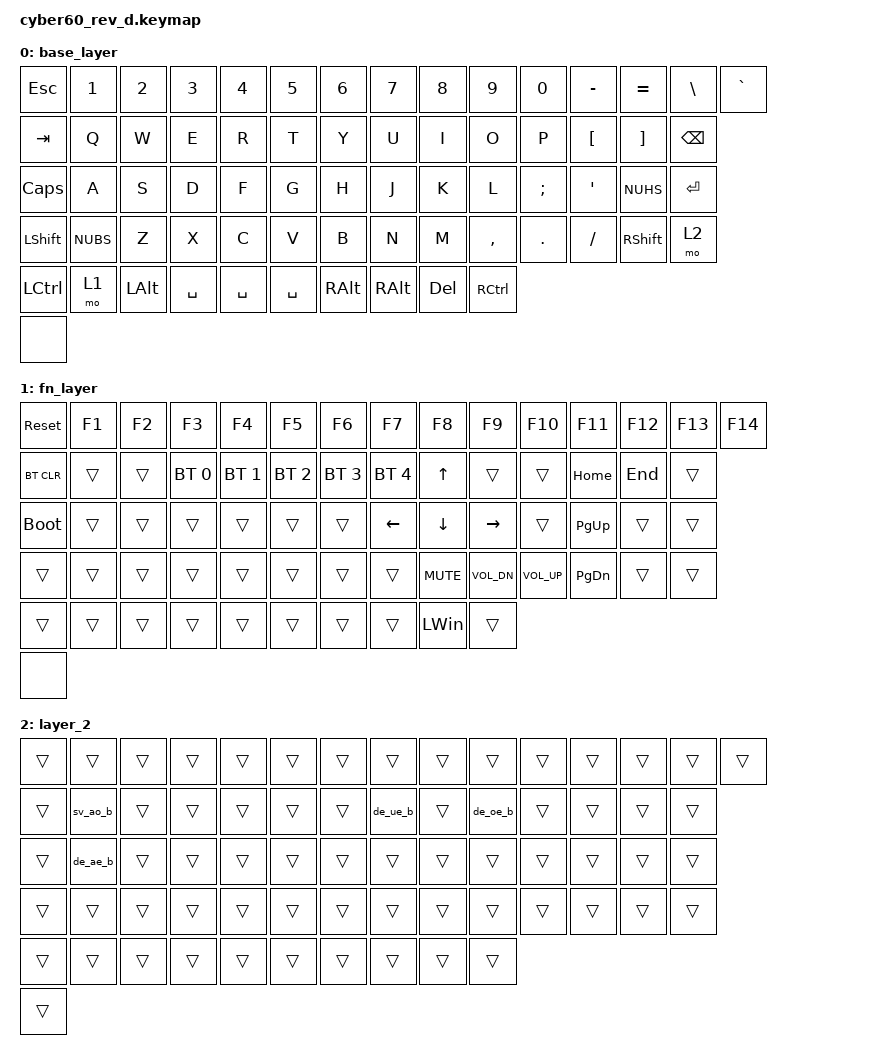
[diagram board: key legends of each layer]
#include <behaviors.dtsi>
#include <dt-bindings/zmk/bt.h>
#include <dt-bindings/zmk/keys.h>
#include <dt-bindings/zmk/keys.h>

#define FN1 1

/ {
    macros {
        de_ae: de_ae {
            compatible = "zmk,behavior-macro";
            #binding-cells = <0>;
            bindings = <&kp KP_NUMLOCK &kt LALT &kp KP_NUMBER_1 &kp KP_NUMBER_3 &kp KP_NUMBER_2 &kt LEFT_ALT &kp KP_NUMLOCK>;
            label = "DE_AE";
        };

        de_oe: de_oe {
            compatible = "zmk,behavior-macro";
            #binding-cells = <0>;
            bindings = <&kp KP_NUMLOCK &kt LALT &kp KP_NUMBER_1 &kp KP_NUMBER_4 &kp KP_NUMBER_8 &kt LALT &kp KP_NUMLOCK>;
            label = "DE_OE";
        };

        de_ue: de_ue {
            compatible = "zmk,behavior-macro";
            #binding-cells = <0>;
            bindings = <&kp KP_NUMLOCK &kt LALT &kp KP_NUMBER_1 &kp KP_NUMBER_2 &kp KP_NUMBER_9 &kt LALT &kp KP_NUMLOCK>;
            label = "DE_UE";
        };

        de_ae_uc: de_ae_uc {
            compatible = "zmk,behavior-macro";
            #binding-cells = <0>;
            bindings = <&kp KP_NUMLOCK &kt LALT &kp KP_NUMBER_0 &kp KP_NUMBER_1 &kp KP_NUMBER_9 &kp KP_NUMBER_6 &kt LEFT_ALT &kp KP_NUMLOCK>;
            label = "DE_AE_UC";
        };

        de_oe_uc: de_oe_uc {
            compatible = "zmk,behavior-macro";
            #binding-cells = <0>;
            bindings = <&kp KP_NUMLOCK &kt LALT &kp KP_NUMBER_0 &kp KP_NUMBER_2 &kp KP_NUMBER_1 &kp KP_NUMBER_4 &kt LALT &kp KP_NUMLOCK>;
            label = "DE_OE_UC";
        };

        de_ue_uc: de_ue_uc {
            compatible = "zmk,behavior-macro";
            #binding-cells = <0>;
            bindings = <&kp KP_NUMLOCK &kt LALT &kp KP_NUMBER_0 &kp KP_NUMBER_2 &kp KP_NUMBER_2 &kp KP_NUMBER_0 &kt LALT &kp KP_NUMLOCK>;
            label = "DE_UE_UC";
        };

        sv_ao: sv_ao {
            compatible = "zmk,behavior-macro";
            #binding-cells = <0>;
            bindings = <&kp KP_NUMLOCK &kt LALT &kp KP_NUMBER_1 &kp KP_NUMBER_3 &kp KP_NUMBER_4 &kt LALT &kp KP_NUMLOCK>;
            label = "SV_AO";
        };

        sv_ao_uc: sv_ao_uc {
            compatible = "zmk,behavior-macro";
            #binding-cells = <0>;
            bindings = <&kp KP_NUMLOCK &kt LALT &kp KP_NUMBER_1 &kp KP_NUMBER_4 &kp KP_NUMBER_3 &kt LALT &kp KP_NUMLOCK>;
            label = "SV_AO_UC";
        };
    };

    behaviors {
        de_oe_b: de_oe_b {
            compatible = "zmk,behavior-mod-morph";
            label = "DE_OE_B";
            bindings = <&de_oe>, <&de_oe_uc>;

            #binding-cells = <0>;
            mods = <(MOD_LSFT|MOD_RSFT)>;
        };

        de_ae_b: de_ae_b {
            compatible = "zmk,behavior-mod-morph";
            label = "DE_AE_B";
            bindings = <&de_ae>, <&de_ae_uc>;

            #binding-cells = <0>;
            mods = <(MOD_LSFT|MOD_RSFT)>;
        };

        de_ue_b: de_ue_b {
            compatible = "zmk,behavior-mod-morph";
            label = "DE_UE_B";
            bindings = <&de_ue>, <&de_ue_uc>;

            #binding-cells = <0>;
            mods = <(MOD_LSFT|MOD_RSFT)>;
        };

        sv_ao_b: sv_ao_b {
            compatible = "zmk,behavior-mod-morph";
            label = "SV_AO_B";
            bindings = <&sv_ao>, <&sv_ao_uc>;

            #binding-cells = <0>;
            mods = <(MOD_LSFT|MOD_RSFT)>;
        };
    };

    keymap {
        compatible = "zmk,keymap";

        base_layer {
            // Base layer
            // ------------------------------------------------------------------------------------------
            // | ESC |  1  |  2  |  3  |  4  |  5  |  6  |  7  |  8  |  9  |  0  |  -  |  =  |   BKSP   |
            // |  TAB |  Q  |  W  |  E  |  R  |  T  |  Y  |  U  |  I  |  O  |  P  |  [  |  ]  |   "|"   |
            // | CAPS  |  A  |  S  |  D  |  F  |  G  |  H  |  J  |  K  |  L  |  ;  |  '  |NUHS| ENTER   |
            // | SHIFT |NUBS| Z |  X  |  C  |  V  |  B  |  N  |  M  |  ,  |  .  |  /  |    Shift   | FN |
            // |  LCTL  |  LWIN  |  LALT  | SPACE  | SPACE |    SPACE   |  RALT | FN  |   RWIN  | RCTRL |
            // | Rotary | (<-- Rotary switch) ----------------------------------------------------------- 

            bindings = <
&kp ESC    &kp N1    &kp N2    &kp N3     &kp N4     &kp N5     &kp N6    &kp N7         &kp N8   &kp N9     &kp N0    &kp MINUS  &kp EQUAL  &kp BSLH       &kp GRAVE
&kp TAB    &kp Q     &kp W     &kp E      &kp R      &kp T      &kp Y     &kp U          &kp I    &kp O      &kp P     &kp LBKT   &kp RBKT   &kp BACKSPACE
&kp CLCK   &kp A     &kp S     &kp D      &kp F      &kp G      &kp H     &kp J          &kp K    &kp L      &kp SEMI  &kp SQT    &kp NUHS   &kp RET
&kp LSHFT  &kp NUBS  &kp Z     &kp X      &kp C      &kp V      &kp B     &kp N          &kp M    &kp COMMA  &kp DOT   &kp FSLH   &kp RSHFT  &mo 2
&kp LCTRL  &mo 1     &kp LALT  &kp SPACE  &kp SPACE  &kp SPACE  &kp RALT  &kp RIGHT_ALT  &kp DEL  &kp RCTRL
&none
            >;
        };

        fn_layer {
            // Function layer
            // ------------------------------------------------------------------------------------------
            // | RESET | F1 |  F2 |  F3 |  F4 |  F5 |  F6 |  F7 |  F8 |  F9 | F10 | F11 | F12 |TRNS | DEL |
            // |BT_CLR |TRNS | UP  | BT0 | BT1 | BT2 | BT3 | BT4 | TRNS | TRNS | TRNS | TRNS | TRNS | TRNS|
            // | BOOTL  |LEFT |DOWN |RIGHT|TRNS |TRNS |TRNS | TRNS| TRNS |TRNS| TRNS |TRNS | TRNS | TRNS  |
            // | TRNS |TRNS|TRNS|TRNS|TRNS | TRNS| TRNS | TRNS |  TRNS| TRNS | TRNS| TRNS |   TRNS   |TRNS|
            // |  TRNS | TRNS | TRNS |      TRNS      | TRNS |     TRNS     |  TRNS |  TRNS | TRNS | TRNS |
            // | Rotary | (<-- Rotary switch) ----------------------------------------------------------- 

            bindings = <
&sys_reset   &kp F1  &kp F2  &kp F3        &kp F4        &kp F5        &kp F6        &kp F7        &kp F8      &kp F9        &kp F10       &kp F11    &kp F12  &kp F13  &kp F14
&bt BT_CLR   &trans  &trans  &bt BT_SEL 0  &bt BT_SEL 1  &bt BT_SEL 2  &bt BT_SEL 3  &bt BT_SEL 4  &kp UP      &trans        &trans        &kp HOME   &kp END  &trans
&bootloader  &trans  &trans  &trans        &trans        &trans        &trans        &kp LEFT      &kp DOWN    &kp RIGHT     &trans        &kp PG_UP  &trans   &trans
&trans       &trans  &trans  &trans        &trans        &trans        &trans        &trans        &kp C_MUTE  &kp C_VOL_DN  &kp C_VOL_UP  &kp PG_DN  &trans   &trans
&trans       &trans  &trans  &trans        &trans        &trans        &trans        &trans        &kp LWIN    &trans
&none
            >;
        };

        layer_2 {
            bindings = <
&trans  &trans    &trans  &trans  &trans  &trans  &trans  &trans    &trans  &trans    &trans  &trans  &trans  &trans  &trans
&trans  &sv_ao_b  &trans  &trans  &trans  &trans  &trans  &de_ue_b  &trans  &de_oe_b  &trans  &trans  &trans  &trans
&trans  &de_ae_b  &trans  &trans  &trans  &trans  &trans  &trans    &trans  &trans    &trans  &trans  &trans  &trans
&trans  &trans    &trans  &trans  &trans  &trans  &trans  &trans    &trans  &trans    &trans  &trans  &trans  &trans
&trans  &trans    &trans  &trans  &trans  &trans  &trans  &trans    &trans  &trans
&trans
            >;
        };
    };
};
